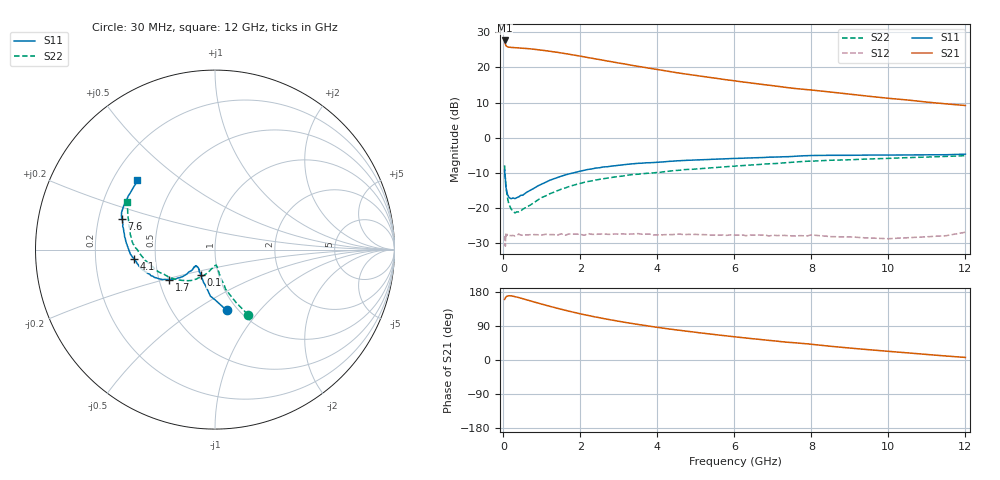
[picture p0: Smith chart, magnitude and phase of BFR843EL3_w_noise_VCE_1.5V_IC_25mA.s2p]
! Infineon Technologies  Discrete & RF Semiconductors
! BFR843EL3
! VCE =  1.5 V,  IC =  25 mA
! Common Emitter S-Parameters:  Aug 2013
# GHz  S  MA  R  50
!  f  S11  S21  S12  S22
! GHz  MAG  ANG  MAG  ANG  MAG  ANG  MAG  ANG
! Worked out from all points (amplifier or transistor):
!   103 points, 30 MHz to 12 GHz, reference 50 ohm
!   highest |S21| = 27.6 dB at 30 MHz (marker M1)
!   |S21| within 3 dB of that: start of sweep to 1.157 GHz
!   unconditionally stable (mu >= 1): 195.2 MHz to 361.4 MHz; 449.8 MHz to 514.5 MHz; 3.764 GHz to end of sweep
!   at 400 MHz: K = 0.99, MSG = 26.4 dB, |S12| = -27.4 dB
!   at 3.7 GHz: K = 0.99, MSG = 23.6 dB, |S12| = -27.4 dB
!   at 12 GHz: K = 1.90, MAG = 12.5 dB, |S12| = -26.8 dB
!   lowest NFmin = 1.21 dB at 450 MHz
!   S11 on the Smith chart (normalised r, x): 30 MHz: 0.89, -0.69; 100 MHz: 0.82, -0.24; 1.7 GHz: 0.56, -0.21; 4.1 GHz: 0.38, -0.05; 7.6 GHz: 0.30, +0.15; 12 GHz: 0.30, +0.35
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0.03  0.3453 -79.1  24.11 160.0  0.037 24.2  0.4058 -63.1
0.04  0.2821 -89.4  22.37 161.9  0.0393 21.7  0.3191 -68.2
0.06  0.2057 -105.2  20.62 165.5  0.0439 20.5  0.227 -75.1
0.08  0.1792 -113.1  19.99 167.6  0.0413 11.4  0.1748 -77.7
0.1  0.1611 -119.7  19.68 168.7  0.0424 9.6  0.1484 -78.5
0.15  0.1408 -128.8  19.35 169.6  0.041 7.8  0.1114 -81.6
0.25  0.1397 -137.1  19.12 168.4  0.041 1.5  0.0899 -84.9
0.6  0.168 -138.3  18.54 158.9  0.0418 3.4  0.1036 -97.4
1.1  0.2341 -140.1  17.24 144.6  0.0426 2.8  0.1497 -111.7
1.4  0.2723 -143.2  16.36 136.5  0.0415 2.4  0.1772 -118.9
1.7  0.3068 -146.3  15.39 128.9  0.043 2.7  0.2027 -124.4
2.1  0.3459 -151.6  14.09 119.6  0.0413 4.7  0.2331 -132.0
2.6  0.3857 -157.9  12.6 109.4  0.0431 4.3  0.2626 -139.8
3  0.4073 -162.4  11.51 102.1  0.0428 3.3  0.2825 -144.9
3.5  0.434 -167.9  10.33 93.8  0.0436 3.5  0.3038 -150.9
4.1  0.4526 -173.2  9.139 84.8  0.0419 4.6  0.3253 -156.2
5.1  0.4862 178.1  7.534 71.7  0.0421 6.3  0.3636 -165.4
6.1  0.5106 171.0  6.334 60.2  0.0414 6.8  0.4003 -172.7
7.6  0.5477 161.6  4.996 45.2  0.0404 11.0  0.4532 176.6
8.5  0.5642 154.4  4.463 36.2  0.0395 8.4  0.4799 169.7
10.5  0.5706 143.5  3.44 18.8  0.0381 22.8  0.5228 158.4
12  0.5856 138.3  2.874 6.8  0.0456 31.8  0.5569 151.8
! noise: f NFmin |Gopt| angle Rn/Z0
0.45  1.21  0.13  160  0.13
0.9  1.21  0.13  156  0.12
1.5  1.22  0.15  155  0.11
1.9  1.23  0.15  157  0.11
2.4  1.24  0.16  161  0.11
3.5  1.25  0.18  167  0.11
5.5  1.27  0.25  184  0.1
8  1.29  0.35  202  0.09
10  1.32  0.47  222  0.09
